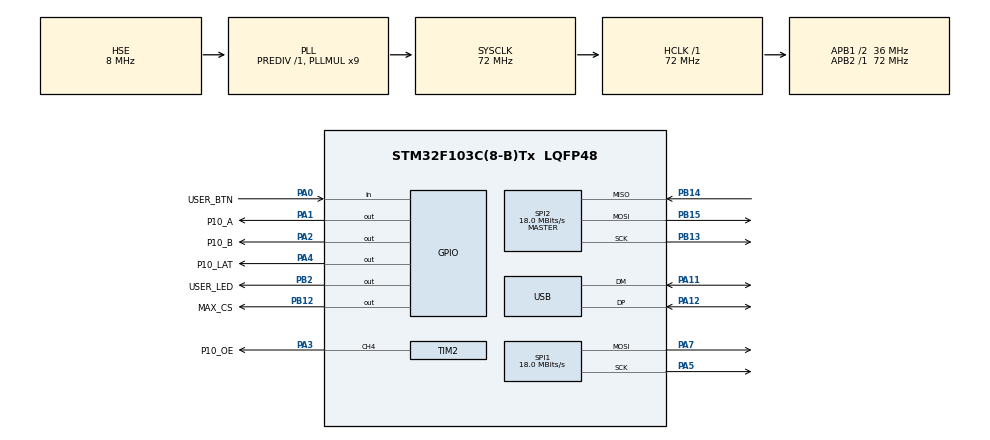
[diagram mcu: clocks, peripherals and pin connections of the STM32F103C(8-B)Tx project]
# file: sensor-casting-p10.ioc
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FREERTOS.Mutexes01=framebufferMutex,Dynamic,NULL,Available
FREERTOS.Queues01=TempQueue,4,float,0,Dynamic,NULL,NULL;BuzzerQueue,4,float,0,Dynamic,NULL,NULL
FREERTOS.Tasks01=P10Task,24,256,StartP10Task,Default,NULL,Dynamic,NULL,NULL;SensorTask,8,256,StartSensorTask,Default,NULL,Dynamic,NULL,NULL;BuzzerTask,8,128,StartBuzzerTask,Default,NULL,Dynamic,NULL,NULL
FREERTOS.configTOTAL_HEAP_SIZE=4056
FREERTOS.configUSE_NEWLIB_REENTRANT=1
Mcu.Family=STM32F1
Mcu.Name=STM32F103C(8-B)Tx
Mcu.Package=LQFP48
NVIC.PriorityGroup=NVIC_PRIORITYGROUP_4
NVIC.SPI2_IRQn=true\:5\:0\:false\:false\:true\:true\:true\:true\:true
NVIC.TIM2_IRQn=true\:5\:0\:false\:false\:true\:true\:true\:true\:true
NVIC.TIM3_IRQn=true\:5\:0\:false\:false\:true\:true\:true\:true\:true
NVIC.TIM4_IRQn=true\:15\:0\:false\:false\:true\:false\:false\:true\:true
NVIC.TimeBase=TIM4_IRQn
NVIC.TimeBaseIP=TIM4
NVIC.USB_LP_CAN1_RX0_IRQn=true\:5\:0\:false\:false\:true\:true\:false\:true\:true
PA0-WKUP.GPIO_Label=USER_BTN
PA0-WKUP.Signal=GPIO_Input
PA1.GPIO_Label=P10_A
PA1.Signal=GPIO_Output
PA11.Mode=Device
PA11.Signal=USB_DM
PA12.Mode=Device
PA12.Signal=USB_DP
PA13.Mode=Serial_Wire
PA13.Signal=SYS_JTMS-SWDIO
PA14.Mode=Serial_Wire
PA14.Signal=SYS_JTCK-SWCLK
PA2.GPIO_Label=P10_B
PA2.Signal=GPIO_Output
PA3.GPIO_Label=P10_OE
PA3.Signal=S_TIM2_CH4
PA4.GPIO_Label=P10_LAT
PA4.Signal=GPIO_Output
PA5.Mode=TX_Only_Simplex_Unidirect_Master
PA5.Signal=SPI1_SCK
PA7.Mode=TX_Only_Simplex_Unidirect_Master
PA7.Signal=SPI1_MOSI
PB12.GPIO_Label=MAX_CS
PB12.Signal=GPIO_Output
PB13.Mode=Full_Duplex_Master
PB13.Signal=SPI2_SCK
PB14.Mode=Full_Duplex_Master
PB14.Signal=SPI2_MISO
PB15.Mode=Full_Duplex_Master
PB15.Signal=SPI2_MOSI
PB2.GPIO_Label=USER_LED
PB2.Signal=GPIO_Output
PC14-OSC32_IN.Mode=LSE-External-Oscillator
PC14-OSC32_IN.Signal=RCC_OSC32_IN
PC15-OSC32_OUT.Mode=LSE-External-Oscillator
PC15-OSC32_OUT.Signal=RCC_OSC32_OUT
PD0-OSC_IN.Mode=HSE-External-Oscillator
PD0-OSC_IN.Signal=RCC_OSC_IN
PD1-OSC_OUT.Mode=HSE-External-Oscillator
PD1-OSC_OUT.Signal=RCC_OSC_OUT
ProjectManager.HeapSize=0x200
ProjectManager.StackSize=0x400
ProjectManager.TargetToolchain=STM32CubeIDE
RCC.AHBFreq_Value=72000000
RCC.APB1CLKDivider=RCC_HCLK_DIV2
RCC.APB1Freq_Value=36000000
RCC.APB1TimFreq_Value=72000000
RCC.APB2Freq_Value=72000000
RCC.APB2TimFreq_Value=72000000
RCC.HCLKFreq_Value=72000000
RCC.PLLMUL=RCC_PLL_MUL9
RCC.PLLSourceVirtual=RCC_PLLSOURCE_HSE
RCC.SYSCLKFreq_VALUE=72000000
RCC.SYSCLKSource=RCC_SYSCLKSOURCE_PLLCLK
RCC.USBFreq_Value=48000000
RCC.USBPrescaler=RCC_USBCLKSOURCE_PLL_DIV1_5
SH.S_TIM2_CH4.0=TIM2_CH4,PWM Generation4 CH4
SPI1.BaudRatePrescaler=SPI_BAUDRATEPRESCALER_4
SPI1.CalculateBaudRate=18.0 MBits/s
SPI1.Direction=SPI_DIRECTION_2LINES
SPI1.Mode=SPI_MODE_MASTER
SPI1.VirtualType=VM_MASTER
SPI2.BaudRatePrescaler=SPI_BAUDRATEPRESCALER_2
SPI2.CalculateBaudRate=18.0 MBits/s
SPI2.Direction=SPI_DIRECTION_2LINES
SPI2.Mode=SPI_MODE_MASTER
SPI2.VirtualType=VM_MASTER
TIM2.AutoReloadPreload=TIM_AUTORELOAD_PRELOAD_ENABLE
TIM2.Channel-PWM\ Generation4\ CH4=TIM_CHANNEL_4
TIM2.Period=65535
TIM2.Prescaler=0
TIM3.AutoReloadPreload=TIM_AUTORELOAD_PRELOAD_ENABLE
USB_DEVICE.CLASS_NAME_FS=CDC
USB_DEVICE.VirtualMode=Cdc
USB_DEVICE.VirtualModeFS=Cdc_FS
VP_FREERTOS_VS_CMSIS_V2.Mode=CMSIS_V2
VP_RTC_VS_RTC_Activate.Mode=RTC_Enabled
VP_RTC_VS_RTC_Calendar.Mode=RTC_Calendar
VP_SYS_VS_tim4.Mode=TIM4
VP_TIM2_VS_ClockSourceINT.Mode=Internal
VP_TIM3_VS_ClockSourceINT.Mode=Internal
VP_USB_DEVICE_VS_USB_DEVICE_CDC_FS.Mode=CDC_FS
board=custom

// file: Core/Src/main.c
/* USER CODE BEGIN Header */
/**
 ******************************************************************************
 * @file           : main.c
 * @brief          : Main program body
 ******************************************************************************
 * @attention
 *
 * Copyright (c) 2025 STMicroelectronics.
 * All rights reserved.
 *
 * This software is licensed under terms that can be found in the LICENSE file
 * in the root directory of this software component.
 * If no LICENSE file comes with this software, it is provided AS-IS.
 *
 ******************************************************************************
 */
/* USER CODE END Header */
#include "main.h"
#include "cmsis_os.h"
#include "usb_device.h"

/* USER CODE BEGIN Includes */
#include "dmdstm32_driver.h" // Sertakan header driver DMD
#include "Fonts.h"           // Sertakan header font
#include "string.h"          // Untuk fungsi string seperti memset
#include "stdio.h"           // Untuk fungsi printf
#include "stdlib.h"          // Untuk fungsi malloc dan free
/* USER CODE END Includes */

/* USER CODE BEGIN PD */
#define MIN_TEMP 0
#define MAX_TEMP 800
// Definisikan threshold suhu untuk buzzer
#define BUZZER_THRESHOLD 100.0f
// Jika ingin mengabaikan bit fault, gunakan define berikut:
#define IGNORE_MAX31855_FAULT_BIT 1
/* USER CODE END PD */

RTC_HandleTypeDef hrtc;

SPI_HandleTypeDef hspi1;
SPI_HandleTypeDef hspi2;

TIM_HandleTypeDef htim2;
TIM_HandleTypeDef htim3;

/* Definitions for P10Task */
osThreadId_t P10TaskHandle;
const osThreadAttr_t P10Task_attributes = {
    .name = "P10Task",
    .stack_size = 256 * 4,
    .priority = (osPriority_t)osPriorityNormal,
};
/* Definitions for SensorTask */
osThreadId_t SensorTaskHandle;
const osThreadAttr_t SensorTask_attributes = {
    .name = "SensorTask",
    .stack_size = 256 * 4,
    .priority = (osPriority_t)osPriorityLow,
};
/* Definitions for BuzzerTask */
osThreadId_t BuzzerTaskHandle;
const osThreadAttr_t BuzzerTask_attributes = {
    .name = "BuzzerTask",
    .stack_size = 128 * 4,
    .priority = (osPriority_t)osPriorityLow,
};
/* Definitions for TempQueue */
osMessageQueueId_t TempQueueHandle;
const osMessageQueueAttr_t TempQueue_attributes = {
    .name = "TempQueue"};
/* Definitions for BuzzerQueue */
osMessageQueueId_t BuzzerQueueHandle;
const osMessageQueueAttr_t BuzzerQueue_attributes = {
    .name = "BuzzerQueue"};
/* Definitions for framebufferMutex */
osMutexId_t framebufferMutexHandle;
const osMutexAttr_t framebufferMutex_attributes = {
    .name = "framebufferMutex"};

void SystemClock_Config(void);
static void MX_GPIO_Init(void);
static void MX_SPI1_Init(void);
static void MX_SPI2_Init(void);
static void MX_TIM2_Init(void);
static void MX_RTC_Init(void);
static void MX_TIM3_Init(void);
void StartP10Task(void *argument);
void StartSensorTask(void *argument);
void StartBuzzerTask(void *argument);

/* USER CODE BEGIN PFP */
float read_max31855(void);
/* USER CODE END PFP */

int main(void)
{

  /* MCU Configuration--------------------------------------------------------*/

  /* Reset of all peripherals, Initializes the Flash interface and the Systick. */
  HAL_Init();

  /* Configure the system clock */
  SystemClock_Config();

  /* Initialize all configured peripherals */
  MX_GPIO_Init();
  MX_SPI1_Init();
  MX_SPI2_Init();
  MX_TIM2_Init();
  MX_RTC_Init();
  MX_TIM3_Init();
  /* USER CODE BEGIN 2 */
  //  MX_USB_DEVICE_Init();

  // Inisialisasi panel DMD: 1 panel lebar, 1 panel tinggi
  initPanel(1, 1);
  setBrightness(50);
  scanDisplayBySPI();
  /* USER CODE END 2 */

  /* Init scheduler */
  osKernelInitialize();
  /* Create the mutex(es) */
  /* creation of framebufferMutex */
  framebufferMutexHandle = osMutexNew(&framebufferMutex_attributes);

  /* Create the queue(s) */
  /* creation of TempQueue */
  TempQueueHandle = osMessageQueueNew(4, sizeof(float), &TempQueue_attributes);

  /* creation of BuzzerQueue */
  BuzzerQueueHandle = osMessageQueueNew(4, sizeof(float), &BuzzerQueue_attributes);

  /* Create the thread(s) */
  /* creation of P10Task */
  P10TaskHandle = osThreadNew(StartP10Task, NULL, &P10Task_attributes);

  /* creation of SensorTask */
  SensorTaskHandle = osThreadNew(StartSensorTask, NULL, &SensorTask_attributes);

  /* creation of BuzzerTask */
  BuzzerTaskHandle = osThreadNew(StartBuzzerTask, NULL, &BuzzerTask_attributes);

  /* Start scheduler */
  osKernelStart();

  /* We should never get here as control is now taken by the scheduler */

  /* Infinite loop */
  while (1)
  {

  }
}

void SystemClock_Config(void)
{
  RCC_OscInitTypeDef RCC_OscInitStruct = {0};
  RCC_ClkInitTypeDef RCC_ClkInitStruct = {0};
  RCC_PeriphCLKInitTypeDef PeriphClkInit = {0};

  /** Initializes the RCC Oscillators according to the specified parameters
   * in the RCC_OscInitTypeDef structure.
   */
  RCC_OscInitStruct.OscillatorType = RCC_OSCILLATORTYPE_LSI | RCC_OSCILLATORTYPE_HSE;
  RCC_OscInitStruct.HSEState = RCC_HSE_ON;
  RCC_OscInitStruct.HSEPredivValue = RCC_HSE_PREDIV_DIV1;
  RCC_OscInitStruct.HSIState = RCC_HSI_ON;
  RCC_OscInitStruct.LSIState = RCC_LSI_ON;
  RCC_OscInitStruct.PLL.PLLState = RCC_PLL_ON;
  RCC_OscInitStruct.PLL.PLLSource = RCC_PLLSOURCE_HSE;
  RCC_OscInitStruct.PLL.PLLMUL = RCC_PLL_MUL9;
  if (HAL_RCC_OscConfig(&RCC_OscInitStruct) != HAL_OK)
  {
    Error_Handler();
  }

  /** Initializes the CPU, AHB and APB buses clocks
   */
  RCC_ClkInitStruct.ClockType = RCC_CLOCKTYPE_HCLK | RCC_CLOCKTYPE_SYSCLK | RCC_CLOCKTYPE_PCLK1 | RCC_CLOCKTYPE_PCLK2;
  RCC_ClkInitStruct.SYSCLKSource = RCC_SYSCLKSOURCE_PLLCLK;
  RCC_ClkInitStruct.AHBCLKDivider = RCC_SYSCLK_DIV1;
  RCC_ClkInitStruct.APB1CLKDivider = RCC_HCLK_DIV2;
  RCC_ClkInitStruct.APB2CLKDivider = RCC_HCLK_DIV1;

  if (HAL_RCC_ClockConfig(&RCC_ClkInitStruct, FLASH_LATENCY_2) != HAL_OK)
  {
    Error_Handler();
  }
  PeriphClkInit.PeriphClockSelection = RCC_PERIPHCLK_RTC | RCC_PERIPHCLK_USB;
  PeriphClkInit.RTCClockSelection = RCC_RTCCLKSOURCE_LSI;
  PeriphClkInit.UsbClockSelection = RCC_USBCLKSOURCE_PLL_DIV1_5;
  if (HAL_RCCEx_PeriphCLKConfig(&PeriphClkInit) != HAL_OK)
  {
    Error_Handler();
  }
}

static void MX_RTC_Init(void)
{

  RTC_TimeTypeDef sTime = {0};
  RTC_DateTypeDef DateToUpdate = {0};

  /** Initialize RTC Only
   */
  hrtc.Instance = RTC;
  hrtc.Init.AsynchPrediv = RTC_AUTO_1_SECOND;
  hrtc.Init.OutPut = RTC_OUTPUTSOURCE_ALARM;
  if (HAL_RTC_Init(&hrtc) != HAL_OK)
  {
    Error_Handler();
  }

  /** Initialize RTC and set the Time and Date
   */
  sTime.Hours = 0x0;
  sTime.Minutes = 0x0;
  sTime.Seconds = 0x0;

  if (HAL_RTC_SetTime(&hrtc, &sTime, RTC_FORMAT_BCD) != HAL_OK)
  {
    Error_Handler();
  }
  DateToUpdate.WeekDay = RTC_WEEKDAY_MONDAY;
  DateToUpdate.Month = RTC_MONTH_JANUARY;
  DateToUpdate.Date = 0x1;
  DateToUpdate.Year = 0x0;

  if (HAL_RTC_SetDate(&hrtc, &DateToUpdate, RTC_FORMAT_BCD) != HAL_OK)
  {
    Error_Handler();
  }
}

static void MX_SPI1_Init(void)
{

  /* SPI1 parameter configuration*/
  hspi1.Instance = SPI1;
  hspi1.Init.Mode = SPI_MODE_MASTER;
  hspi1.Init.Direction = SPI_DIRECTION_2LINES;
  hspi1.Init.DataSize = SPI_DATASIZE_8BIT;
  hspi1.Init.CLKPolarity = SPI_POLARITY_LOW;
  hspi1.Init.CLKPhase = SPI_PHASE_1EDGE;
  hspi1.Init.NSS = SPI_NSS_SOFT;
  hspi1.Init.BaudRatePrescaler = SPI_BAUDRATEPRESCALER_4;
  hspi1.Init.FirstBit = SPI_FIRSTBIT_MSB;
  hspi1.Init.TIMode = SPI_TIMODE_DISABLE;
  hspi1.Init.CRCCalculation = SPI_CRCCALCULATION_DISABLE;
  hspi1.Init.CRCPolynomial = 10;
  if (HAL_SPI_Init(&hspi1) != HAL_OK)
  {
    Error_Handler();
  }
}

static void MX_SPI2_Init(void)
{

  /* SPI2 parameter configuration*/
  hspi2.Instance = SPI2;
  hspi2.Init.Mode = SPI_MODE_MASTER;
  hspi2.Init.Direction = SPI_DIRECTION_2LINES;
  hspi2.Init.DataSize = SPI_DATASIZE_8BIT;
  hspi2.Init.CLKPolarity = SPI_POLARITY_LOW;
  hspi2.Init.CLKPhase = SPI_PHASE_1EDGE;
  hspi2.Init.NSS = SPI_NSS_SOFT;
  hspi2.Init.BaudRatePrescaler = SPI_BAUDRATEPRESCALER_2;
  hspi2.Init.FirstBit = SPI_FIRSTBIT_MSB;
  hspi2.Init.TIMode = SPI_TIMODE_DISABLE;
  hspi2.Init.CRCCalculation = SPI_CRCCALCULATION_DISABLE;
  hspi2.Init.CRCPolynomial = 10;
  if (HAL_SPI_Init(&hspi2) != HAL_OK)
  {
    Error_Handler();
  }
}

static void MX_TIM2_Init(void)
{

  TIM_ClockConfigTypeDef sClockSourceConfig = {0};
  TIM_MasterConfigTypeDef sMasterConfig = {0};
  TIM_OC_InitTypeDef sConfigOC = {0};

  htim2.Instance = TIM2;
  htim2.Init.Prescaler = 0;
  htim2.Init.CounterMode = TIM_COUNTERMODE_UP;
  htim2.Init.Period = 65535;
  htim2.Init.ClockDivision = TIM_CLOCKDIVISION_DIV1;
  htim2.Init.AutoReloadPreload = TIM_AUTORELOAD_PRELOAD_ENABLE;
  if (HAL_TIM_Base_Init(&htim2) != HAL_OK)
  {
    Error_Handler();
  }
  sClockSourceConfig.ClockSource = TIM_CLOCKSOURCE_INTERNAL;
  if (HAL_TIM_ConfigClockSource(&htim2, &sClockSourceConfig) != HAL_OK)
  {
    Error_Handler();
  }
  if (HAL_TIM_PWM_Init(&htim2) != HAL_OK)
  {
    Error_Handler();
  }
  sMasterConfig.MasterOutputTrigger = TIM_TRGO_RESET;
  sMasterConfig.MasterSlaveMode = TIM_MASTERSLAVEMODE_DISABLE;
  if (HAL_TIMEx_MasterConfigSynchronization(&htim2, &sMasterConfig) != HAL_OK)
  {
    Error_Handler();
  }
  sConfigOC.OCMode = TIM_OCMODE_PWM1;
  sConfigOC.Pulse = 0;
  sConfigOC.OCPolarity = TIM_OCPOLARITY_HIGH;
  sConfigOC.OCFastMode = TIM_OCFAST_DISABLE;
  if (HAL_TIM_PWM_ConfigChannel(&htim2, &sConfigOC, TIM_CHANNEL_4) != HAL_OK)
  {
    Error_Handler();
  }
  HAL_TIM_MspPostInit(&htim2);
}

static void MX_TIM3_Init(void)
{

  TIM_ClockConfigTypeDef sClockSourceConfig = {0};
  TIM_MasterConfigTypeDef sMasterConfig = {0};

  htim3.Instance = TIM3;
  htim3.Init.Prescaler = 0;
  htim3.Init.CounterMode = TIM_COUNTERMODE_UP;
  htim3.Init.Period = 65535;
  htim3.Init.ClockDivision = TIM_CLOCKDIVISION_DIV1;
  htim3.Init.AutoReloadPreload = TIM_AUTORELOAD_PRELOAD_ENABLE;
  if (HAL_TIM_Base_Init(&htim3) != HAL_OK)
  {
    Error_Handler();
  }
  sClockSourceConfig.ClockSource = TIM_CLOCKSOURCE_INTERNAL;
  if (HAL_TIM_ConfigClockSource(&htim3, &sClockSourceConfig) != HAL_OK)
  {
    Error_Handler();
  }
  sMasterConfig.MasterOutputTrigger = TIM_TRGO_RESET;
  sMasterConfig.MasterSlaveMode = TIM_MASTERSLAVEMODE_DISABLE;
  if (HAL_TIMEx_MasterConfigSynchronization(&htim3, &sMasterConfig) != HAL_OK)
  {
    Error_Handler();
  }
}

static void MX_GPIO_Init(void)
{
  GPIO_InitTypeDef GPIO_InitStruct = {0};

  /* GPIO Ports Clock Enable */
  __HAL_RCC_GPIOC_CLK_ENABLE();
  __HAL_RCC_GPIOD_CLK_ENABLE();
  __HAL_RCC_GPIOA_CLK_ENABLE();
  __HAL_RCC_GPIOB_CLK_ENABLE();

  /*Configure GPIO pin Output Level */
  HAL_GPIO_WritePin(GPIOA, P10_A_Pin | P10_B_Pin | P10_LAT_Pin, GPIO_PIN_RESET);

  /*Configure GPIO pin Output Level */
  HAL_GPIO_WritePin(GPIOB, USER_LED_Pin | MAX_CS_Pin, GPIO_PIN_RESET);

  /*Configure GPIO pin : USER_BTN_Pin */
  GPIO_InitStruct.Pin = USER_BTN_Pin;
  GPIO_InitStruct.Mode = GPIO_MODE_INPUT;
  GPIO_InitStruct.Pull = GPIO_NOPULL;
  HAL_GPIO_Init(USER_BTN_GPIO_Port, &GPIO_InitStruct);

  /*Configure GPIO pins : P10_A_Pin P10_B_Pin P10_LAT_Pin */
  GPIO_InitStruct.Pin = P10_A_Pin | P10_B_Pin | P10_LAT_Pin;
  GPIO_InitStruct.Mode = GPIO_MODE_OUTPUT_PP;
  GPIO_InitStruct.Pull = GPIO_NOPULL;
  GPIO_InitStruct.Speed = GPIO_SPEED_FREQ_LOW;
  HAL_GPIO_Init(GPIOA, &GPIO_InitStruct);

  /*Configure GPIO pins : USER_LED_Pin MAX_CS_Pin */
  GPIO_InitStruct.Pin = USER_LED_Pin | MAX_CS_Pin;
  GPIO_InitStruct.Mode = GPIO_MODE_OUTPUT_PP;
  GPIO_InitStruct.Pull = GPIO_NOPULL;
  GPIO_InitStruct.Speed = GPIO_SPEED_FREQ_LOW;
  HAL_GPIO_Init(GPIOB, &GPIO_InitStruct);

}

/* USER CODE BEGIN 4 */

/**
 * @brief Membaca data suhu dari sensor MAX31855 via SPI2.
 * @retval Nilai suhu dalam Celcius, atau nilai negatif jika ada error.
 */
float read_max31855(void)
{
  uint8_t rx_data[4];
  int16_t temp_data;
  float temperature = -999.0; // Nilai error default

  // Aktifkan sensor dengan menarik CS ke LOW
  HAL_GPIO_WritePin(MAX_CS_GPIO_Port, MAX_CS_Pin, GPIO_PIN_RESET);
  osDelay(1); // Delay singkat

  // Terima 4 byte data dari sensor
  if (HAL_SPI_Receive(&hspi2, rx_data, 4, 100) == HAL_OK)
  {
    // Tarik CS ke HIGH untuk menonaktifkan sensor
    HAL_GPIO_WritePin(MAX_CS_GPIO_Port, MAX_CS_Pin, GPIO_PIN_SET);

#if !IGNORE_MAX31855_FAULT_BIT
    // Cek bit 16 untuk fault (Open Circuit, Short to GND, Short to VCC)
    if (rx_data[1] & 0x01)
    {
      // Ada fault pada thermocouple
      return -100.0; // Kode error untuk open circuit
    }
#endif

    // Ambil data suhu (14 bit, MSB ada di byte 0)
    temp_data = (rx_data[0] << 6) | (rx_data[1] >> 2);

    // Konversi ke Celcius (resolusi 0.25 C per LSB)
    temperature = temp_data * 0.25;
  }
  else
  {
    // Gagal komunikasi SPI, tarik CS ke HIGH
    HAL_GPIO_WritePin(MAX_CS_GPIO_Port, MAX_CS_Pin, GPIO_PIN_SET);
  }

  return temperature;
}
/* USER CODE END 4 */

void StartP10Task(void *argument)
{
  /* init code for USB_DEVICE */
  MX_USB_DEVICE_Init();
  /* USER CODE BEGIN 5 */

  // 1. Mulai PWM pada TIM2 untuk mengontrol pin Output Enable (kecerahan)
  HAL_TIM_PWM_Start(&htim2, TIM_CHANNEL_4);
  // 2. Mulai TIM1 dalam mode interrupt untuk me-refresh panel secara periodik
  HAL_TIM_Base_Start_IT(&htim3);
  // 3. Inisialisasi panel. Parameter (1, 1) berarti ada 1 panel ke samping dan 1 ke bawah.
  initPanel(1, 1);
  // 4. Pilih font yang akan digunakan.
  // Anda bisa menggantinya dengan font lain dari Fonts.h, contoh: System5x7
  selectFont(System5x7);
  // 5. Atur kecerahan awal (0-100)
  setBrightness(10); // Atur kecerahan 50%

  float temperature = 0.0;
  char display_buffer[20];
  /* Infinite loop */
  for (;;)
  {
    // Tunggu data suhu baru dari queue
    osStatus_t status = osMessageQueueGet(TempQueueHandle, &temperature, NULL, osWaitForever);

    if (status == osOK)
    {
      // sprintf(display_buffer, "%.1f'C", temperature); // Gunakan format float jika ingin desimal
      sprintf(display_buffer, "%d'C", (int)temperature);                         // Gunakan integer untuk suhu
      clearScreen(true);                                                         // Bersihkan buffer layar sebelum menggambar
      drawString(0, 0, display_buffer, strlen(display_buffer), GRAPHICS_NORMAL); // Gambar string suhu pada posisi (x=0, y=0)

      // Gambar garis dari (0, 8) ke (garis_x, 8)
      // garis untuk menandai batas sensor, posisi X sesuai rentang suhu
      int garis_x = 0;
      if (MAX_TEMP > MIN_TEMP)
      {
        // Skala suhu ke lebar panel (0..31)
        garis_x = (int)((temperature - MIN_TEMP) * 31 / (MAX_TEMP - MIN_TEMP));
        if (garis_x < 0)
          garis_x = 0;
        if (garis_x > 31)
          garis_x = 31;
      }
      for (size_t i = 9; i < 14; i++)
      {
        drawLine(0, i, garis_x, i, GRAPHICS_NORMAL);
      }
    }
  }
  /* USER CODE END 5 */
}

void StartSensorTask(void *argument)
{
  /* USER CODE BEGIN StartSensorTask */
  /* Infinite loop */
  for (;;)
  {
    float current_temp = read_max31855();

    // Kirim suhu ke queue
    osMessageQueuePut(TempQueueHandle, &current_temp, 0U, 0U);
    // Kirim suhu ke queue untuk Buzzer
    osMessageQueuePut(BuzzerQueueHandle, &current_temp, 0U, 0U);

    // Tunggu 1 detik sebelum pembacaan berikutnya
    osDelay(500); // 500 ms
  }
  /* USER CODE END StartSensorTask */
}

void StartBuzzerTask(void *argument)
{
  /* USER CODE BEGIN StartBuzzerTask */
  float temperature;
  /* Infinite loop */
  for (;;)
  {
    // Tunggu data suhu baru dari queue
    if (osMessageQueueGet(BuzzerQueueHandle, &temperature, NULL, osWaitForever) == osOK)
    {
      if (temperature >= BUZZER_THRESHOLD)
      {
        // Suhu di atas atau sama dengan threshold, bunyikan buzzer
        float range = MAX_TEMP - BUZZER_THRESHOLD;
        int delay_ms = 0;

        if (temperature < MAX_TEMP && range > 0)
        {
          // Hitung delay berdasarkan seberapa dekat suhu ke MAX_TEMP
          // Semakin dekat, semakin kecil delay (bunyi makin cepat)
          // Rumus: y = y_max - ( (x - x_min) / (x_max - x_min) ) * y_max
          // y = delay, x = temperature
          delay_ms = 2000 - (int)(((temperature - BUZZER_THRESHOLD) / range) * 2000.0f);
        }

        // Pastikan delay tidak negatif
        if (delay_ms < 0)
        {
          delay_ms = 0;
        }

        // Bunyikan buzzer
        HAL_GPIO_WritePin(USER_LED_GPIO_Port, USER_LED_Pin, GPIO_PIN_SET);

        if (delay_ms > 0)
        {
          // Jika delay > 0, buat suara beep (berkedip)
          osDelay(100); // Durasi beep 100ms
          HAL_GPIO_WritePin(USER_LED_GPIO_Port, USER_LED_Pin, GPIO_PIN_RESET);
          osDelay(delay_ms); // Jeda antar beep
        }
        // Jika delay_ms adalah 0, buzzer akan tetap menyala karena tidak pernah di-RESET di dalam loop ini
        // hingga suhu turun di bawah threshold
      }
      else
      {
        // Suhu di bawah threshold, matikan buzzer
        HAL_GPIO_WritePin(USER_LED_GPIO_Port, USER_LED_Pin, GPIO_PIN_RESET);
        // Beri sedikit delay agar task tidak sibuk jika tidak ada data baru (meskipun Get akan block)
        osDelay(100);
      }
    }
  }
  /* USER CODE END StartBuzzerTask */
}

void HAL_TIM_PeriodElapsedCallback(TIM_HandleTypeDef *htim)
{
  /* USER CODE BEGIN Callback 0 */
  // Pastikan interrupt berasal dari TIM1 (timer untuk refresh)
  if (htim->Instance == TIM3)
  {
    // Panggil fungsi scan display untuk mengirim data ke panel P10
    scanDisplayBySPI();
  }

  /* USER CODE END Callback 0 */
  if (htim->Instance == TIM4)
  {
    HAL_IncTick();
  }
}

void Error_Handler(void)
{
  __disable_irq();
  while (1)
  {
  }
}
